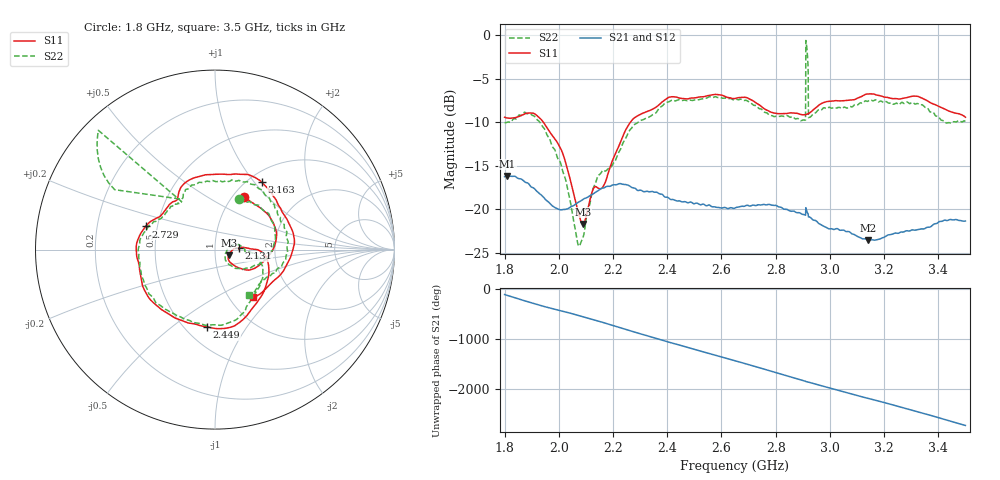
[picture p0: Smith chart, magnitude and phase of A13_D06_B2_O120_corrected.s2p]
! Created with skrf 1.9.0 (http://scikit-rf.org).
# Hz S RI R 50.0
!freq ReS11 ImS11 ReS21 ImS21 ReS12 ImS12 ReS22 ImS22
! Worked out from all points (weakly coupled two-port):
!   1601 points, 1.8 GHz to 3.5 GHz, reference 50 ohm
!   highest |S21| = -16.18 dB at 1.811 GHz (marker M1); lowest = -23.5 dB at 3.142 GHz (marker M2)
!   lowest |S11| = -21.7 dB at 2.089 GHz (marker M3), VSWR 1.18, Z = 58.1 - j3.63 ohm
!   |S11| at or under -10 dB: 1.943 GHz to 2.264 GHz (321.4 MHz wide, 15.3 % of centre)
!   |S22| runs from -24.2 to -0.6 dB; largest |S21 - S12| = 0.0026
!   S11 on the Smith chart (normalised r, x): 1.8 GHz: 1.12, +0.75; 2.131 GHz: 1.31, +0.02; 2.449 GHz: 0.63, -0.67; 2.729 GHz: 0.43, +0.13; 3.163 GHz: 1.15, +1.09; 3.5 GHz: 1.27, -0.76
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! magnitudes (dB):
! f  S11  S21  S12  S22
! 1.8 GHz  -9.4  -16.3  -16.3  -10.0
! 1.811 GHz  -9.5  -16.2  -16.2  -10.0
! 1.941 GHz  -9.9  -18.5  -18.5  -10.5
! 2.014 GHz  -13.5  -20.0  -20.0  -15.5
! 2.068 GHz  -19.8  -19.3  -19.3  -23.6
! 2.084 GHz  -21.5  -19.0  -18.9  -23.6
! 2.089 GHz  -21.7  -18.9  -18.9  -23.2
! 2.131 GHz  -17.4  -18.1  -18.1  -17.3
! 2.167 GHz  -17.2  -17.5  -17.5  -15.5
! 2.266 GHz  -9.9  -17.4  -17.4  -10.8
! 2.367 GHz  -8.1  -18.1  -18.1  -8.5
! 2.449 GHz  -7.3  -19.1  -19.1  -7.5
! 2.65 GHz  -7.3  -19.8  -19.8  -7.4
! 2.729 GHz  -7.8  -19.6  -19.6  -8.1
! 2.902 GHz  -9.2  -20.6  -20.6  -9.7
! 2.911 GHz  -9.1  -19.8  -19.8  -0.6
! 2.92 GHz  -9.0  -20.5  -20.5  -3.7
! 2.934 GHz  -8.7  -21.1  -21.1  -9.2
! 3.142 GHz  -6.8  -23.5  -23.4  -7.6
! 3.163 GHz  -6.8  -23.5  -23.5  -7.5
! 3.217 GHz  -7.2  -22.9  -22.9  -7.8
! 3.5 GHz  -9.4  -21.3  -21.3  -10.0
